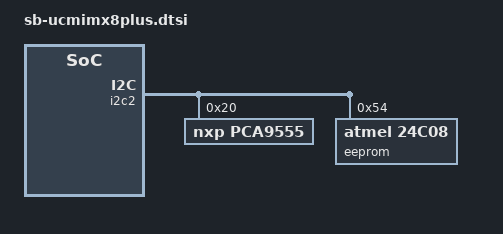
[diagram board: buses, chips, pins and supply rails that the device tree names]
&i2c2 {
	#address-cells = <1>;
	#size-cells = <0>;
	status = "okay";

	pca9555:pca9555@20 {
		compatible = "nxp,pca9555";
		gpio-controller;
		#gpio-cells = <2>;
		reg = <0x20>;
		status = "okay";
	};

	eeprom@54 {
		compatible = "atmel,24c08";
		reg = <0x54>;
		pagesize = <16>;
		status = "okay";
	};
};
